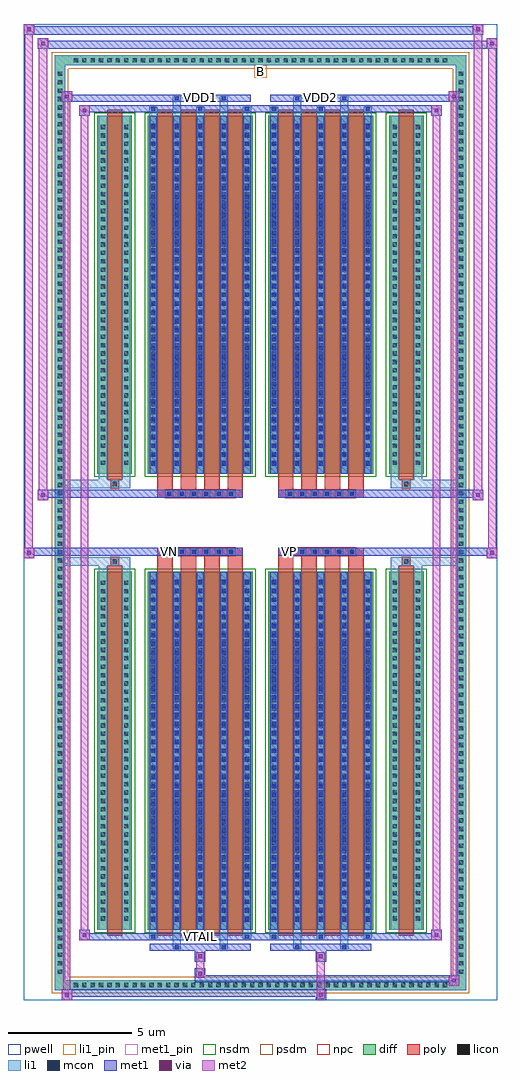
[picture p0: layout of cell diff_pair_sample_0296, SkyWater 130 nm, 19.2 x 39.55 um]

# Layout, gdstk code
import gdstk
lib = gdstk.Library(unit=1e-6, precision=5e-09)
def R(c, l, rs):  # rectangles x0, y0, x1, y1
    for r in rs: c.add(gdstk.rectangle(r[:2], r[2:], *l))
def A(c, l, x, y, w, h, nx, ny, dx, dy):  # array of equal rectangles
    R(c, l, [(x+i*dx, y+j*dy, x+i*dx+w, y+j*dy+h) for i in range(nx) for j in range(ny)])
def P(c, l, *ps):  # polygons
    for p in ps: c.add(gdstk.Polygon(p, *l))
pwell = (64, 44)
diff = (65, 20)
poly = (66, 20)
licon = (66, 44)
li1_pin = (67, 16)
li1 = (67, 20)
mcon = (67, 44)
met1_pin = (68, 16)
met1 = (68, 20)
via = (68, 44)
met2 = (69, 20)
nsdm = (93, 44)
psdm = (94, 20)
npc = (95, 20)

diff_pair_sample_0296 = lib.new_cell('diff_pair_sample_0296')
R(diff_pair_sample_0296, pwell, [(-9.6,-19.34,9.6,20.21), (-6.92,-17.53,-0.01,-0.805), (0.01,-17.53,6.92,-0.805), (-6.92,0.805,-0.01,17.53), (0.01,0.805,6.92,17.53)])
A(diff_pair_sample_0296, diff, -7.685, -18.94, 0.41, 0.41, 45, 2, 0.34, 37.47)
A(diff_pair_sample_0296, diff, -8.33, -18.395, 0.41, 0.41, 1, 108, 0, 0.34)
A(diff_pair_sample_0296, diff, 7.92, -18.395, 0.41, 0.41, 1, 108, 0, 0.34)
R(diff_pair_sample_0296, diff, [(-7.685,-18.94,7.685,-18.53), (-8.33,-18.395,-7.92,18.395), (7.92,-18.395,8.33,18.395), (-6.61,-16.485,-5.21,-1.985), (-4.57,-16.485,-0.32,-1.985), (0.32,-16.485,4.57,-1.985), (5.21,-16.485,6.61,-1.985), (-6.61,1.985,-5.21,16.485), (-4.57,1.985,-0.32,16.485), (0.32,1.985,4.57,16.485), (5.21,1.985,6.61,16.485), (-7.685,18.53,7.685,18.94)])
P(diff_pair_sample_0296, diff, [(8.33,18.94),(-8.33,18.94),(-8.33,-18.53),(-7.92,-18.53),(-7.92,18.53),(7.92,18.53),(7.92,-18.53),(-7.92,-18.53),(-8.33,-18.53),(-8.33,-18.94),(8.33,-18.94)])
A(diff_pair_sample_0296, poly, -4.18, -16.735, 0.62, 15, 4, 2, 0.95, 18.47)
A(diff_pair_sample_0296, poly, 0.71, -16.735, 0.62, 15, 4, 2, 0.95, 18.47)
A(diff_pair_sample_0296, poly, -4.18, -1.735, 0.62, 0.4, 4, 2, 0.95, 3.07)
A(diff_pair_sample_0296, poly, 0.71, -1.735, 0.62, 0.4, 4, 2, 0.95, 3.07)
A(diff_pair_sample_0296, poly, -3.86, -1.335, 0.33, 0.33, 6, 2, 0.5, 2.34)
A(diff_pair_sample_0296, poly, 1.03, -1.335, 0.33, 0.33, 6, 2, 0.5, 2.34)
R(diff_pair_sample_0296, poly, [(-6.22,-16.735,-5.6,-1.735), (5.6,-16.735,6.22,-1.735), (-6.075,-1.735,-5.745,-1.405), (-6.075,-1.735,-5.745,-1.405), (5.745,-1.735,6.075,-1.405), (5.745,-1.735,6.075,-1.405), (-4.18,-1.335,-0.71,-1.005), (0.71,-1.335,4.18,-1.005), (-4.18,1.005,-0.71,1.335), (0.71,1.005,4.18,1.335), (-6.075,1.405,-5.745,1.735), (-6.075,1.405,-5.745,1.735), (5.745,1.405,6.075,1.735), (5.745,1.405,6.075,1.735), (-6.22,1.735,-5.6,16.735), (5.6,1.735,6.22,16.735)])
A(diff_pair_sample_0296, licon, -7.565, -18.82, 0.17, 0.17, 45, 2, 0.34, 37.47)
A(diff_pair_sample_0296, licon, -8.21, -18.275, 0.17, 0.17, 1, 108, 0, 0.34)
A(diff_pair_sample_0296, licon, 8.04, -18.275, 0.17, 0.17, 1, 108, 0, 0.34)
A(diff_pair_sample_0296, licon, -6.47, -16.12, 0.17, 0.17, 1, 41, 0, 0.34)
A(diff_pair_sample_0296, licon, -5.52, -16.12, 0.17, 0.17, 1, 41, 0, 0.34)
A(diff_pair_sample_0296, licon, -4.43, -16.12, 0.17, 0.17, 5, 41, 0.95, 0.34)
A(diff_pair_sample_0296, licon, 0.46, -16.12, 0.17, 0.17, 5, 41, 0.95, 0.34)
A(diff_pair_sample_0296, licon, 5.35, -16.12, 0.17, 0.17, 1, 41, 0, 0.34)
A(diff_pair_sample_0296, licon, 6.3, -16.12, 0.17, 0.17, 1, 41, 0, 0.34)
A(diff_pair_sample_0296, licon, -3.78, -1.255, 0.17, 0.17, 6, 2, 0.5, 2.34)
A(diff_pair_sample_0296, licon, 1.11, -1.255, 0.17, 0.17, 6, 2, 0.5, 2.34)
A(diff_pair_sample_0296, licon, -6.47, 2.35, 0.17, 0.17, 1, 41, 0, 0.34)
A(diff_pair_sample_0296, licon, -5.52, 2.35, 0.17, 0.17, 1, 41, 0, 0.34)
A(diff_pair_sample_0296, licon, -4.43, 2.35, 0.17, 0.17, 5, 41, 0.95, 0.34)
A(diff_pair_sample_0296, licon, 0.46, 2.35, 0.17, 0.17, 5, 41, 0.95, 0.34)
A(diff_pair_sample_0296, licon, 5.35, 2.35, 0.17, 0.17, 1, 41, 0, 0.34)
A(diff_pair_sample_0296, licon, 6.3, 2.35, 0.17, 0.17, 1, 41, 0, 0.34)
R(diff_pair_sample_0296, licon, [(-5.995,-1.655,-5.825,-1.485), (5.825,-1.655,5.995,-1.485), (-5.995,1.485,-5.825,1.655), (5.825,1.485,5.995,1.655)])
R(diff_pair_sample_0296, li1_pin, [(-0.25,18.03,0.25,18.53)])
A(diff_pair_sample_0296, li1, -7.645, -18.9, 0.33, 0.33, 45, 2, 0.34, 37.47)
A(diff_pair_sample_0296, li1, -8.29, -18.355, 0.33, 0.33, 1, 108, 0, 0.34)
A(diff_pair_sample_0296, li1, 7.96, -18.355, 0.33, 0.33, 1, 108, 0, 0.34)
A(diff_pair_sample_0296, li1, -4.51, -16.86, 0.33, 0.375, 3, 2, 1.9, 33.345)
A(diff_pair_sample_0296, li1, -4.43, -16.86, 0.17, 0.17, 3, 2, 1.9, 33.55)
A(diff_pair_sample_0296, li1, 0.38, -16.86, 0.33, 0.375, 3, 2, 1.9, 33.345)
A(diff_pair_sample_0296, li1, 0.46, -16.86, 0.17, 0.17, 3, 2, 1.9, 33.55)
A(diff_pair_sample_0296, li1, -4.51, -16.485, 0.33, 14.5, 5, 2, 0.95, 18.47)
A(diff_pair_sample_0296, li1, 0.38, -16.485, 0.33, 14.5, 5, 2, 0.95, 18.47)
A(diff_pair_sample_0296, li1, -6.55, -16.2, 0.33, 0.33, 1, 41, 0, 0.34)
A(diff_pair_sample_0296, li1, -5.6, -16.2, 0.33, 0.33, 1, 41, 0, 0.34)
A(diff_pair_sample_0296, li1, -4.51, -16.2, 0.33, 0.33, 5, 41, 0.95, 0.34)
A(diff_pair_sample_0296, li1, 0.38, -16.2, 0.33, 0.33, 5, 41, 0.95, 0.34)
A(diff_pair_sample_0296, li1, 5.27, -16.2, 0.33, 0.33, 1, 41, 0, 0.34)
A(diff_pair_sample_0296, li1, 6.22, -16.2, 0.33, 0.33, 1, 41, 0, 0.34)
A(diff_pair_sample_0296, li1, -4.43, -16.16, 0.17, 0.17, 5, 39, 0.95, 0.36)
A(diff_pair_sample_0296, li1, -4.43, -16.16, 0.17, 13.85, 5, 2, 0.95, 18.47)
A(diff_pair_sample_0296, li1, 0.46, -16.16, 0.17, 0.17, 5, 39, 0.95, 0.36)
A(diff_pair_sample_0296, li1, 0.46, -16.16, 0.17, 13.85, 5, 2, 0.95, 18.47)
A(diff_pair_sample_0296, li1, -3.86, -1.335, 0.33, 0.33, 6, 2, 0.5, 2.34)
A(diff_pair_sample_0296, li1, 1.03, -1.335, 0.33, 0.33, 6, 2, 0.5, 2.34)
A(diff_pair_sample_0296, li1, -6.55, 2.27, 0.33, 0.33, 1, 41, 0, 0.34)
A(diff_pair_sample_0296, li1, -5.6, 2.27, 0.33, 0.33, 1, 41, 0, 0.34)
A(diff_pair_sample_0296, li1, -4.51, 2.27, 0.33, 0.33, 5, 41, 0.95, 0.34)
A(diff_pair_sample_0296, li1, 0.38, 2.27, 0.33, 0.33, 5, 41, 0.95, 0.34)
A(diff_pair_sample_0296, li1, 5.27, 2.27, 0.33, 0.33, 1, 41, 0, 0.34)
A(diff_pair_sample_0296, li1, 6.22, 2.27, 0.33, 0.33, 1, 41, 0, 0.34)
A(diff_pair_sample_0296, li1, -4.43, 2.31, 0.17, 0.17, 5, 39, 0.95, 0.36)
A(diff_pair_sample_0296, li1, 0.46, 2.31, 0.17, 0.17, 5, 39, 0.95, 0.36)
R(diff_pair_sample_0296, li1, [(-8.33,-18.94,-7.92,-18.53), (-8.33,-18.94,-7.92,-18.53), (-7.92,-18.94,7.92,-18.53), (7.92,-18.94,8.33,-18.53), (7.92,-18.94,8.33,-18.53), (-8.33,-18.53,-7.92,18.53), (7.92,-18.53,8.33,18.53), (-3.56,-17.29,-3.23,-16.485), (-3.48,-17.29,-3.31,-17.12), (-1.66,-17.29,-1.33,-16.485), (-1.58,-17.29,-1.41,-17.12), (1.33,-17.29,1.66,-16.485), (1.41,-17.29,1.58,-17.12), (3.23,-17.29,3.56,-16.485), (3.31,-17.29,3.48,-17.12), (-6.55,-16.485,-6.22,-1.985), (-5.6,-16.485,-5.27,-1.985), (5.27,-16.485,5.6,-1.985), (6.22,-16.485,6.55,-1.985), (-6.55,-1.985,-6.22,-1.405), (-5.6,-1.985,-5.27,-1.405), (5.27,-1.985,5.6,-1.405), (6.22,-1.985,6.55,-1.405), (-8.33,-1.735,-6.075,-1.405), (-6.55,-1.735,-6.075,-1.405), (-6.075,-1.735,-5.745,-1.405), (-5.745,-1.735,-5.27,-1.405), (5.27,-1.735,5.745,-1.405), (5.745,-1.735,6.075,-1.405), (5.745,-1.735,8.33,-1.405), (6.075,-1.735,6.55,-1.405), (-8.33,1.405,-6.075,1.735), (-6.55,1.405,-6.075,1.735), (-6.55,1.405,-6.22,1.985), (-6.075,1.405,-5.745,1.735), (-5.745,1.405,-5.27,1.735), (-5.6,1.405,-5.27,1.985), (5.27,1.405,5.745,1.735), (5.27,1.405,5.6,1.985), (5.745,1.405,6.075,1.735), (5.745,1.405,8.33,1.735), (6.075,1.405,6.55,1.735), (6.22,1.405,6.55,1.985), (-6.55,1.985,-6.22,16.485), (-5.6,1.985,-5.27,16.485), (5.27,1.985,5.6,16.485), (6.22,1.985,6.55,16.485), (-3.56,16.485,-3.23,17.29), (-1.66,16.485,-1.33,17.29), (1.33,16.485,1.66,17.29), (3.23,16.485,3.56,17.29), (-3.48,17.12,-3.31,17.29), (-1.58,17.12,-1.41,17.29), (1.41,17.12,1.58,17.29), (3.31,17.12,3.48,17.29), (-8.33,18.53,-7.92,18.94), (-8.33,18.53,-7.92,18.94), (-7.92,18.53,7.92,18.94), (7.92,18.53,8.33,18.94), (7.92,18.53,8.33,18.94)])
A(diff_pair_sample_0296, mcon, -4.43, -16.86, 0.17, 0.17, 3, 2, 1.9, 33.55)
A(diff_pair_sample_0296, mcon, 0.46, -16.86, 0.17, 0.17, 3, 2, 1.9, 33.55)
A(diff_pair_sample_0296, mcon, -4.43, -16.16, 0.17, 0.17, 5, 39, 0.95, 0.36)
A(diff_pair_sample_0296, mcon, 0.46, -16.16, 0.17, 0.17, 5, 39, 0.95, 0.36)
A(diff_pair_sample_0296, mcon, -3.78, -1.255, 0.17, 0.17, 6, 2, 0.5, 2.34)
A(diff_pair_sample_0296, mcon, 1.11, -1.255, 0.17, 0.17, 6, 2, 0.5, 2.34)
A(diff_pair_sample_0296, mcon, -4.43, 2.31, 0.17, 0.17, 5, 39, 0.95, 0.36)
A(diff_pair_sample_0296, mcon, 0.46, 2.31, 0.17, 0.17, 5, 39, 0.95, 0.36)
R(diff_pair_sample_0296, mcon, [(-3.48,-17.29,-3.31,-17.12), (-1.58,-17.29,-1.41,-17.12), (1.41,-17.29,1.58,-17.12), (3.31,-17.29,3.48,-17.12), (-3.48,17.12,-3.31,17.29), (-1.58,17.12,-1.41,17.29), (1.41,17.12,1.58,17.29), (3.31,17.12,3.48,17.29)])
R(diff_pair_sample_0296, met1_pin, [(-2.58,-16.9,-2.31,-16.63), (-3.83,-1.295,-3.56,-1.025), (1.06,-1.295,1.33,-1.025), (-2.58,17.08,-2.31,17.35), (2.31,17.08,2.58,17.35)])
A(diff_pair_sample_0296, met1, -4.49, -16.92, 0.29, 0.29, 3, 2, 1.9, 33.55)
A(diff_pair_sample_0296, met1, 0.4, -16.92, 0.29, 0.29, 3, 2, 1.9, 33.55)
A(diff_pair_sample_0296, met1, -4.49, -16.485, 0.29, 14.5, 5, 2, 0.95, 18.47)
A(diff_pair_sample_0296, met1, 0.4, -16.485, 0.29, 14.5, 5, 2, 0.95, 18.47)
A(diff_pair_sample_0296, met1, -4.49, -16.22, 0.29, 0.29, 5, 39, 0.95, 0.36)
A(diff_pair_sample_0296, met1, 0.4, -16.22, 0.29, 0.29, 5, 39, 0.95, 0.36)
A(diff_pair_sample_0296, met1, -3.84, -1.315, 0.29, 0.29, 6, 2, 0.5, 2.34)
A(diff_pair_sample_0296, met1, 1.05, -1.315, 0.29, 0.29, 6, 2, 0.5, 2.34)
A(diff_pair_sample_0296, met1, -4.49, 2.25, 0.29, 0.29, 5, 39, 0.95, 0.36)
A(diff_pair_sample_0296, met1, 0.4, 2.25, 0.29, 0.29, 5, 39, 0.95, 0.36)
R(diff_pair_sample_0296, met1, [(-8.06,-19.34,-7.63,-18.91), (2.23,-19.34,2.66,-18.91), (-8.06,-19.2,2.66,-18.91), (7.63,-18.77,8.06,-18.34), (-2.66,-18.63,8.06,-18.34), (-2.66,-18.49,-2.23,-18.06), (-2.66,-17.78,-2.23,-17.35), (2.23,-17.78,2.66,-17.35), (-4.49,-17.35,-0.4,-17.06), (-3.54,-17.35,-3.25,-17.06), (-1.64,-17.35,-1.35,-17.06), (0.4,-17.35,4.49,-17.06), (1.35,-17.35,1.64,-17.06), (3.25,-17.35,3.54,-17.06), (-7.35,-16.92,-6.92,-16.49), (-7.35,-16.92,-4.49,-16.63), (-4.49,-16.92,-0.4,-16.63), (-0.4,-16.92,0.4,-16.63), (0.4,-16.92,4.49,-16.63), (4.49,-16.92,7.35,-16.63), (6.92,-16.92,7.35,-16.49), (-9.6,-1.435,-9.17,-1.005), (9.17,-1.435,9.6,-1.005), (-9.6,-1.335,-0.71,-1.005), (-4.18,-1.335,-0.71,-1.005), (0.71,-1.335,4.18,-1.005), (0.71,-1.335,9.6,-1.005), (-9.03,0.905,-8.6,1.335), (8.6,0.905,9.03,1.335), (-9.03,1.005,-4.18,1.335), (-4.18,1.005,-0.71,1.335), (0.71,1.005,4.18,1.335), (4.18,1.005,9.03,1.335), (-7.35,16.49,-6.92,16.92), (6.92,16.49,7.35,16.92), (-7.35,16.63,-4.49,16.92), (-4.49,16.63,-0.4,16.92), (-0.4,16.63,0.4,16.92), (0.4,16.63,4.49,16.92), (4.49,16.63,7.35,16.92), (-8.06,17.06,-7.63,17.49), (-8.06,17.06,-4.49,17.35), (-4.49,17.06,-0.4,17.35), (-3.54,17.06,-3.25,17.35), (-1.64,17.06,-1.35,17.35), (0.4,17.06,4.49,17.35), (1.35,17.06,1.64,17.35), (3.25,17.06,3.54,17.35), (4.49,17.06,8.06,17.35), (7.63,17.06,8.06,17.49), (-9.03,19.21,-8.6,19.64), (-9.03,19.21,-6.92,19.54), (-6.92,19.21,6.92,19.54), (6.92,19.21,9.6,19.54), (9.17,19.21,9.6,19.64), (-9.6,19.78,-9.17,20.21), (-9.6,19.78,-6.92,20.11), (-6.92,19.78,6.92,20.11), (6.92,19.78,9.03,20.11), (8.6,19.78,9.03,20.21)])
R(diff_pair_sample_0296, via, [(-7.92,-19.2,-7.77,-19.05), (2.37,-19.2,2.52,-19.05), (7.77,-18.63,7.92,-18.48), (-2.52,-18.35,-2.37,-18.2), (-2.52,-17.64,-2.37,-17.49), (2.37,-17.64,2.52,-17.49), (-7.21,-16.78,-7.06,-16.63), (7.06,-16.78,7.21,-16.63), (-9.46,-1.295,-9.31,-1.145), (9.31,-1.295,9.46,-1.145), (-8.89,1.045,-8.74,1.195), (8.74,1.045,8.89,1.195), (-7.21,16.63,-7.06,16.78), (7.06,16.63,7.21,16.78), (-7.92,17.2,-7.77,17.35), (7.77,17.2,7.92,17.35), (-8.89,19.35,-8.74,19.5), (9.31,19.35,9.46,19.5), (-9.46,19.92,-9.31,20.07), (8.74,19.92,8.89,20.07)])
R(diff_pair_sample_0296, met2, [(-8.06,-19.34,-7.63,-18.91), (-7.99,-19.34,-7.7,17.49), (-7.7,-19.34,-7.63,-18.91), (-8.01,-19.29,-7.68,-18.96), (2.28,-19.29,2.61,-18.96), (2.28,-18.96,2.61,-17.73), (7.63,-18.77,8.06,-18.34), (7.7,-18.77,7.99,17.49), (7.99,-18.77,8.06,-18.34), (7.68,-18.72,8.01,-18.39), (-2.61,-18.44,-2.28,-18.11), (-2.61,-18.11,-2.28,-17.73), (-2.61,-17.73,-2.28,-17.4), (2.28,-17.73,2.61,-17.4), (-7.35,-16.92,-6.92,-16.49), (-7.28,-16.92,-6.99,16.92), (-6.99,-16.92,-6.92,-16.49), (6.92,-16.92,7.35,-16.49), (6.99,-16.92,7.28,16.92), (7.28,-16.92,7.35,-16.49), (-7.3,-16.87,-6.97,-16.54), (6.97,-16.87,7.3,-16.54), (-9.6,-1.435,-9.17,-1.005), (-9.55,-1.435,-9.22,20.21), (-9.22,-1.435,-9.17,-1.005), (9.17,-1.435,9.6,-1.005), (9.22,-1.435,9.55,19.64), (9.55,-1.435,9.6,-1.005), (-9.55,-1.385,-9.22,-1.055), (9.22,-1.385,9.55,-1.055), (-9.03,0.905,-8.6,1.335), (-8.98,0.905,-8.65,19.64), (-8.65,0.905,-8.6,1.335), (8.6,0.905,9.03,1.335), (8.65,0.905,8.98,20.21), (8.98,0.905,9.03,1.335), (-8.98,0.955,-8.65,1.285), (8.65,0.955,8.98,1.285), (-7.35,16.49,-6.92,16.92), (-6.99,16.49,-6.92,16.92), (6.92,16.49,7.35,16.92), (7.28,16.49,7.35,16.92), (-7.3,16.54,-6.97,16.87), (6.97,16.54,7.3,16.87), (-8.06,17.06,-7.63,17.49), (-7.7,17.06,-7.63,17.49), (7.63,17.06,8.06,17.49), (7.99,17.06,8.06,17.49), (-8.01,17.11,-7.68,17.44), (7.68,17.11,8.01,17.44), (-9.03,19.21,-8.6,19.64), (-8.65,19.21,-8.6,19.64), (9.17,19.21,9.6,19.64), (9.55,19.21,9.6,19.64), (-8.98,19.26,-8.65,19.59), (9.22,19.26,9.55,19.59), (-9.6,19.78,-9.17,20.21), (-9.22,19.78,-9.17,20.21), (8.6,19.78,9.03,20.21), (8.98,19.78,9.03,20.21), (-9.55,19.83,-9.22,20.16), (8.65,19.83,8.98,20.16)])
R(diff_pair_sample_0296, nsdm, [(-6.74,-16.615,-5.08,-1.855), (-4.7,-16.615,-0.19,-1.855), (0.19,-16.615,4.7,-1.855), (5.08,-16.615,6.74,-1.855), (-6.74,1.855,-5.08,16.615), (-4.7,1.855,-0.19,16.615), (0.19,1.855,4.7,16.615), (5.08,1.855,6.74,16.615)])
P(diff_pair_sample_0296, psdm, [(8.46,19.07),(-8.46,19.07),(-8.46,-18.4),(-7.79,-18.4),(-7.79,18.4),(7.79,18.4),(7.79,-18.4),(-7.79,-18.4),(-8.46,-18.4),(-8.46,-19.07),(8.46,-19.07)])
A(diff_pair_sample_0296, npc, -3.88, -1.355, 0.37, 0.37, 6, 2, 0.5, 2.34)
A(diff_pair_sample_0296, npc, 1.01, -1.355, 0.37, 0.37, 6, 2, 0.5, 2.34)
R(diff_pair_sample_0296, npc, [(-6.095,-1.755,-5.725,-1.385), (5.725,-1.755,6.095,-1.385), (-3.88,-1.355,-3.01,-0.985), (-3.88,-1.355,-3.01,-0.985), (-3.38,-1.355,-2.51,-0.985), (-3.38,-1.355,-2.51,-0.985), (-2.88,-1.355,-2.01,-0.985), (-2.88,-1.355,-2.01,-0.985), (-2.38,-1.355,-1.51,-0.985), (-2.38,-1.355,-1.51,-0.985), (-1.88,-1.355,-1.01,-0.985), (-1.88,-1.355,-1.01,-0.985), (1.01,-1.355,1.88,-0.985), (1.01,-1.355,1.88,-0.985), (1.51,-1.355,2.38,-0.985), (1.51,-1.355,2.38,-0.985), (2.01,-1.355,2.88,-0.985), (2.01,-1.355,2.88,-0.985), (2.51,-1.355,3.38,-0.985), (2.51,-1.355,3.38,-0.985), (3.01,-1.355,3.88,-0.985), (3.01,-1.355,3.88,-0.985), (-3.88,0.985,-3.01,1.355), (-3.88,0.985,-3.01,1.355), (-3.38,0.985,-2.51,1.355), (-3.38,0.985,-2.51,1.355), (-2.88,0.985,-2.01,1.355), (-2.88,0.985,-2.01,1.355), (-2.38,0.985,-1.51,1.355), (-2.38,0.985,-1.51,1.355), (-1.88,0.985,-1.01,1.355), (-1.88,0.985,-1.01,1.355), (1.01,0.985,1.88,1.355), (1.01,0.985,1.88,1.355), (1.51,0.985,2.38,1.355), (1.51,0.985,2.38,1.355), (2.01,0.985,2.88,1.355), (2.01,0.985,2.88,1.355), (2.51,0.985,3.38,1.355), (2.51,0.985,3.38,1.355), (3.01,0.985,3.88,1.355), (3.01,0.985,3.88,1.355), (-6.095,1.385,-5.725,1.755), (5.725,1.385,6.095,1.755)])
diff_pair_sample_0296.add(gdstk.Label('VTAIL', (-2.445,-16.765), layer=68, texttype=5))
diff_pair_sample_0296.add(gdstk.Label('VN', (-3.695,-1.16), layer=68, texttype=5))
diff_pair_sample_0296.add(gdstk.Label('VP', (1.195,-1.16), layer=68, texttype=5))
diff_pair_sample_0296.add(gdstk.Label('B', (0,18.28), layer=67, texttype=5))
diff_pair_sample_0296.add(gdstk.Label('VDD2', (2.445,17.215), layer=68, texttype=5))
diff_pair_sample_0296.add(gdstk.Label('VDD1', (-2.445,17.215), layer=68, texttype=5))

lib.write_gds('diff_pair_sample_0296.gds')
